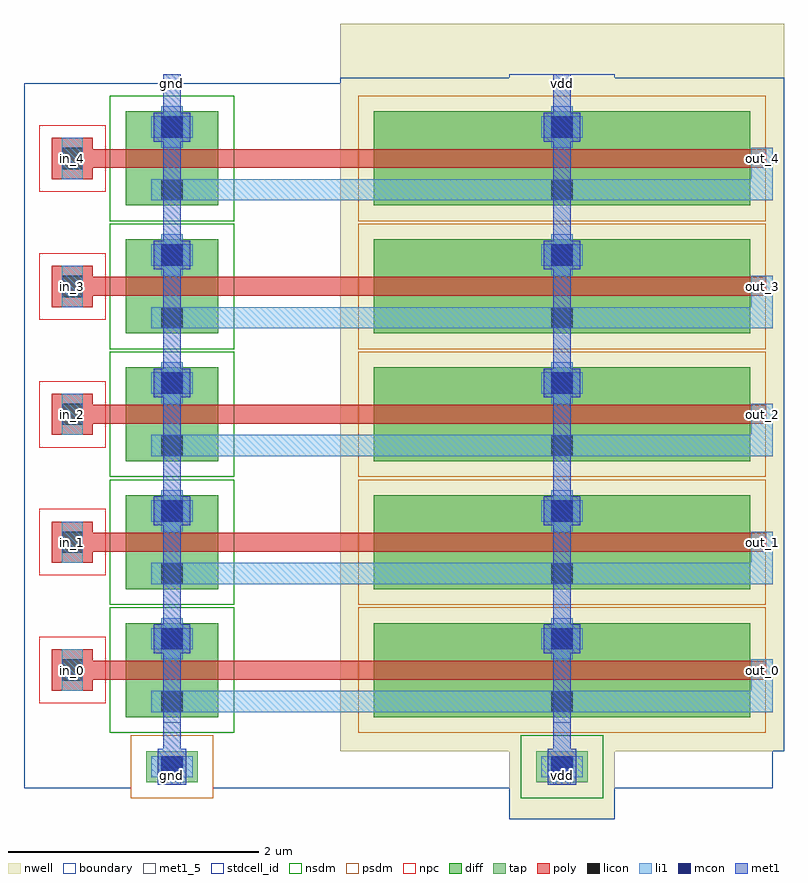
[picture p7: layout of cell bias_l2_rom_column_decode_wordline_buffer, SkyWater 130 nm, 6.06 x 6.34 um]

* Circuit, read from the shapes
.subckt bias_l2_rom_column_decode_wordline_buffer gnd in_0 in_1 in_2 in_3 in_4 out_0 out_1 out_2 out_3 out_4 vdd
XM1 gnd in_0 out_0 gnd sky130_fd_pr__nfet_01v8 w=0.74 l=0.15
XM2 gnd in_1 out_1 gnd sky130_fd_pr__nfet_01v8 w=0.74 l=0.15
XM3 gnd in_2 out_2 gnd sky130_fd_pr__nfet_01v8 w=0.74 l=0.15
XM4 gnd in_3 out_3 gnd sky130_fd_pr__nfet_01v8 w=0.74 l=0.15
XM5 gnd in_4 out_4 gnd sky130_fd_pr__nfet_01v8 w=0.74 l=0.15
XM6 vdd in_0 out_0 vdd sky130_fd_pr__pfet_01v8 w=3 l=0.15
XM7 vdd in_1 out_1 vdd sky130_fd_pr__pfet_01v8 w=3 l=0.15
XM8 vdd in_2 out_2 vdd sky130_fd_pr__pfet_01v8 w=3 l=0.15
XM9 vdd in_3 out_3 vdd sky130_fd_pr__pfet_01v8 w=3 l=0.15
XM10 vdd in_4 out_4 vdd sky130_fd_pr__pfet_01v8 w=3 l=0.15
.ends

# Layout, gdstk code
from math import pi, radians
import gdstk
lib = gdstk.Library(unit=1e-6, precision=1e-09)
def R(c, l, rs):  # rectangles x0, y0, x1, y1
    for r in rs: c.add(gdstk.rectangle(r[:2], r[2:], *l))
def A(c, l, x, y, w, h, nx, ny, dx, dy):  # array of equal rectangles
    R(c, l, [(x+i*dx, y+j*dy, x+i*dx+w, y+j*dy+h) for i in range(nx) for j in range(ny)])
nwell = (64, 20)
diff = (65, 20)
tap = (65, 44)
poly = (66, 20)
licon = (66, 44)
li1 = (67, 20)
mcon = (67, 44)
met1_5 = (68, 5)
met1 = (68, 20)
stdcell_id = (81, 4)
nsdm = (93, 44)
psdm = (94, 20)
npc = (95, 20)
boundary = (235, 4)

bias_l2_contact_10 = lib.new_cell('bias_l2_contact_10')
R(bias_l2_contact_10, nwell, [(-0.295,-0.255,0.545,0.585)])
R(bias_l2_contact_10, diff, [(0,0.02,0.25,0.31)])
R(bias_l2_contact_10, licon, [(0.04,0.08,0.21,0.25)])
R(bias_l2_contact_10, li1, [(0.04,0,0.21,0.33)])
R(bias_l2_contact_10, stdcell_id, [(-0.295,-0.255,0.545,0.585)])
R(bias_l2_contact_10, psdm, [(-0.125,-0.105,0.375,0.435)])
R(bias_l2_contact_10, boundary, [(-0.295,-0.255,0.545,0.585)])

bias_l2_pmos_m1_w3_000_s = lib.new_cell('bias_l2_pmos_m1_w3_000_sli_dli_da_p')
R(bias_l2_pmos_m1_w3_000_s, nwell, [(-0.27,-0.27,1.02,3.27)])
R(bias_l2_pmos_m1_w3_000_s, diff, [(0,0,0.75,3)])
R(bias_l2_pmos_m1_w3_000_s, poly, [(0.3,-0.13,0.45,3.13), (0.3,-0.13,0.45,3.13)])
R(bias_l2_pmos_m1_w3_000_s, li1, [(0.04,1.335,0.21,1.665), (0.54,1.335,0.71,1.665)])
R(bias_l2_pmos_m1_w3_000_s, stdcell_id, [(-0.27,-0.27,1.02,3.27)])
R(bias_l2_pmos_m1_w3_000_s, psdm, [(-0.125,-0.125,0.875,3.125)])
R(bias_l2_pmos_m1_w3_000_s, boundary, [(-0.27,-0.27,1.02,3.27)])
bias_l2_pmos_m1_w3_000_s.add(gdstk.Reference(bias_l2_contact_10, (0,1.335)))
bias_l2_pmos_m1_w3_000_s.add(gdstk.Reference(bias_l2_contact_10, (0.5,1.335)))
bias_l2_pmos_m1_w3_000_s.add(gdstk.Label('G', (0.375,1.5), layer=66, texttype=5))
bias_l2_pmos_m1_w3_000_s.add(gdstk.Label('S', (0.125,1.5), layer=67, texttype=5))
bias_l2_pmos_m1_w3_000_s.add(gdstk.Label('D', (0.625,1.5), layer=67, texttype=5))

bias_l2_contact_8 = lib.new_cell('bias_l2_contact_8')
R(bias_l2_contact_8, diff, [(0,0.02,0.25,0.31)])
R(bias_l2_contact_8, licon, [(0.04,0.08,0.21,0.25)])
R(bias_l2_contact_8, li1, [(0.04,0,0.21,0.33)])
R(bias_l2_contact_8, stdcell_id, [(-0.125,-0.105,0.375,0.435)])
R(bias_l2_contact_8, nsdm, [(-0.125,-0.105,0.375,0.435)])
R(bias_l2_contact_8, boundary, [(-0.125,-0.105,0.375,0.435)])

bias_l2_nmos_m1_w0_740_s = lib.new_cell('bias_l2_nmos_m1_w0_740_sli_dli_da_p')
R(bias_l2_nmos_m1_w0_740_s, diff, [(0,0,0.75,0.74)])
R(bias_l2_nmos_m1_w0_740_s, poly, [(0.3,-0.13,0.45,0.87), (0.3,-0.13,0.45,0.87)])
R(bias_l2_nmos_m1_w0_740_s, li1, [(0.04,0.205,0.21,0.535), (0.54,0.205,0.71,0.535)])
R(bias_l2_nmos_m1_w0_740_s, stdcell_id, [(-0.125,-0.13,0.875,0.87)])
R(bias_l2_nmos_m1_w0_740_s, nsdm, [(-0.125,-0.125,0.875,0.865)])
R(bias_l2_nmos_m1_w0_740_s, boundary, [(-0.125,-0.13,0.875,0.87)])
bias_l2_nmos_m1_w0_740_s.add(gdstk.Reference(bias_l2_contact_8, (0,0.205)))
bias_l2_nmos_m1_w0_740_s.add(gdstk.Reference(bias_l2_contact_8, (0.5,0.205)))
bias_l2_nmos_m1_w0_740_s.add(gdstk.Label('G', (0.375,0.37), layer=66, texttype=5))
bias_l2_nmos_m1_w0_740_s.add(gdstk.Label('S', (0.125,0.37), layer=67, texttype=5))
bias_l2_nmos_m1_w0_740_s.add(gdstk.Label('D', (0.625,0.37), layer=67, texttype=5))

bias_l2_contact_11 = lib.new_cell('bias_l2_contact_11')
R(bias_l2_contact_11, poly, [(0,0,0.33,0.33)])
R(bias_l2_contact_11, licon, [(0.08,0.08,0.25,0.25)])
R(bias_l2_contact_11, li1, [(0.08,0,0.25,0.33)])
R(bias_l2_contact_11, stdcell_id, [(-0.1,-0.1,0.43,0.43)])
R(bias_l2_contact_11, npc, [(-0.1,-0.1,0.43,0.43)])
R(bias_l2_contact_11, boundary, [(-0.1,-0.1,0.43,0.43)])

bias_l2_contact_12 = lib.new_cell('bias_l2_contact_12')
R(bias_l2_contact_12, li1, [(0.06,0,0.23,0.33)])
R(bias_l2_contact_12, mcon, [(0.06,0.08,0.23,0.25)])
R(bias_l2_contact_12, met1, [(0,0.05,0.29,0.28)])
R(bias_l2_contact_12, stdcell_id, [(0,0,0.29,0.33)])
R(bias_l2_contact_12, boundary, [(0,0,0.29,0.33)])

bias_l2_pinv_dec_2 = lib.new_cell('bias_l2_pinv_dec_2')
R(bias_l2_pinv_dec_2, nwell, [(2.52,0,6.06,1.495)])
R(bias_l2_pinv_dec_2, poly, [(0.385,0.345,0.68,0.495), (1.68,0.345,2.66,0.495)])
R(bias_l2_pinv_dec_2, li1, [(1.015,0.085,5.97,0.255), (0.3,0.255,0.47,0.585)])
R(bias_l2_pinv_dec_2, met1_5, [(1.11,0,1.25,1.02), (4.22,0,4.36,1.02)])
R(bias_l2_pinv_dec_2, met1, [(1.11,0,1.25,1.02), (4.22,0,4.36,1.02)])
R(bias_l2_pinv_dec_2, stdcell_id, [(0,0,5.97,1.02), (0,0,5.97,1.02)])
R(bias_l2_pinv_dec_2, nsdm, [(0.685,0,1.675,0.795)])
R(bias_l2_pinv_dec_2, psdm, [(2.665,0,5.915,0.795)])
R(bias_l2_pinv_dec_2, boundary, [(0,0,5.97,1.02), (0,0,5.97,1.02)])
bias_l2_pinv_dec_2.add(gdstk.Reference(bias_l2_pmos_m1_w3_000_s, (2.79,0.795), rotation=3*pi/2))
bias_l2_pinv_dec_2.add(gdstk.Reference(bias_l2_nmos_m1_w0_740_s, (0.81,0.795), rotation=3*pi/2))
bias_l2_pinv_dec_2.add(gdstk.Reference(bias_l2_contact_11, (0.22,0.255)))
bias_l2_pinv_dec_2.add(gdstk.Reference(bias_l2_contact_12, (1.035,0.505)))
bias_l2_pinv_dec_2.add(gdstk.Reference(bias_l2_contact_12, (4.145,0.505)))
bias_l2_pinv_dec_2.add(gdstk.Label('A', (0.385,0.42), layer=67, texttype=5))
bias_l2_pinv_dec_2.add(gdstk.Label('Z', (3.492,0.17), layer=67, texttype=5))
bias_l2_pinv_dec_2.add(gdstk.Label('gnd', (1.18,0.51), layer=68, texttype=5))
bias_l2_pinv_dec_2.add(gdstk.Label('vdd', (4.29,0.51), layer=68, texttype=5))

bias_l2_contact_15 = lib.new_cell('bias_l2_contact_15')
R(bias_l2_contact_15, nwell, [(-0.215,-0.295,0.625,0.545)])
R(bias_l2_contact_15, tap, [(0,0,0.41,0.25)])
R(bias_l2_contact_15, licon, [(0.12,0.04,0.29,0.21)])
R(bias_l2_contact_15, li1, [(0.04,0.04,0.37,0.21)])
R(bias_l2_contact_15, stdcell_id, [(-0.215,-0.295,0.625,0.545)])
R(bias_l2_contact_15, nsdm, [(-0.125,-0.125,0.535,0.375)])
R(bias_l2_contact_15, boundary, [(-0.215,-0.295,0.625,0.545)])

bias_l2_contact_17 = lib.new_cell('bias_l2_contact_17')
R(bias_l2_contact_17, li1, [(0,0.06,0.33,0.23)])
R(bias_l2_contact_17, mcon, [(0.08,0.06,0.25,0.23)])
R(bias_l2_contact_17, met1, [(0.05,0,0.28,0.29)])
R(bias_l2_contact_17, stdcell_id, [(0,0,0.33,0.29)])
R(bias_l2_contact_17, boundary, [(0,0,0.33,0.29)])

bias_l2_contact_16 = lib.new_cell('bias_l2_contact_16')
R(bias_l2_contact_16, tap, [(0,0,0.41,0.25)])
R(bias_l2_contact_16, licon, [(0.12,0.04,0.29,0.21)])
R(bias_l2_contact_16, li1, [(0.04,0.04,0.37,0.21)])
R(bias_l2_contact_16, stdcell_id, [(-0.125,-0.125,0.535,0.375)])
R(bias_l2_contact_16, psdm, [(-0.125,-0.125,0.535,0.375)])
R(bias_l2_contact_16, boundary, [(-0.125,-0.125,0.535,0.375)])

bias_l2_rom_column_decod = lib.new_cell('bias_l2_rom_column_decode_wordline_buffer')
A(bias_l2_rom_column_decod, li1, 5.8, 0.69, 0.17, 0.335, 1, 5, 0, 1.02)
A(bias_l2_rom_column_decod, li1, 0.3, 0.775, 0.17, 0.33, 1, 5, 0, 1.02)
A(bias_l2_rom_column_decod, li1, 5.8, 0.855, 0.17, 0.17, 1, 5, 0, 1.02)
R(bias_l2_rom_column_decod, met1_5, [(1.11,0.03,1.25,0.17), (4.22,0.03,4.36,0.17), (1.11,5.55,1.25,5.69), (4.22,5.55,4.36,5.69)])
A(bias_l2_rom_column_decod, met1, 1.11, 0.96, 0.14, 0.14, 1, 5, 0, 1.02)
A(bias_l2_rom_column_decod, met1, 4.22, 0.96, 0.14, 0.14, 1, 5, 0, 1.02)
R(bias_l2_rom_column_decod, met1, [(1.11,0.03,1.25,0.17), (1.11,0.03,1.25,5.69), (4.22,0.03,4.36,0.17), (4.22,0.03,4.36,5.69), (1.11,0.1,1.25,0.24), (4.22,0.1,4.36,0.24), (1.11,5.55,1.25,5.69), (4.22,5.55,4.36,5.69)])
R(bias_l2_rom_column_decod, stdcell_id, [(0,0,5.97,5.1)])
R(bias_l2_rom_column_decod, boundary, [(0,0,5.97,5.1)])
bias_l2_rom_column_decod.add(gdstk.Reference(bias_l2_pinv_dec_2, (0,0.52)))
bias_l2_rom_column_decod.add(gdstk.Reference(bias_l2_pinv_dec_2, (0,1.54)))
bias_l2_rom_column_decod.add(gdstk.Reference(bias_l2_pinv_dec_2, (0,2.56)))
bias_l2_rom_column_decod.add(gdstk.Reference(bias_l2_pinv_dec_2, (0,3.58)))
bias_l2_rom_column_decod.add(gdstk.Reference(bias_l2_pinv_dec_2, (0,4.6)))
bias_l2_rom_column_decod.add(gdstk.Reference(bias_l2_contact_15, (4.085,0.045)))
bias_l2_rom_column_decod.add(gdstk.Reference(bias_l2_contact_17, (4.125,0.025)))
bias_l2_rom_column_decod.add(gdstk.Reference(bias_l2_contact_16, (0.975,0.045)))
bias_l2_rom_column_decod.add(gdstk.Reference(bias_l2_contact_17, (1.015,0.025)))
bias_l2_rom_column_decod.add(gdstk.Label('in_0', (0.385,0.94), layer=67, texttype=5))
bias_l2_rom_column_decod.add(gdstk.Label('out_0', (5.885,0.94), layer=67, texttype=5))
bias_l2_rom_column_decod.add(gdstk.Label('in_1', (0.385,1.96), layer=67, texttype=5))
bias_l2_rom_column_decod.add(gdstk.Label('out_1', (5.885,1.96), layer=67, texttype=5))
bias_l2_rom_column_decod.add(gdstk.Label('in_2', (0.385,2.98), layer=67, texttype=5))
bias_l2_rom_column_decod.add(gdstk.Label('out_2', (5.885,2.98), layer=67, texttype=5))
bias_l2_rom_column_decod.add(gdstk.Label('in_3', (0.385,4), layer=67, texttype=5))
bias_l2_rom_column_decod.add(gdstk.Label('out_3', (5.885,4), layer=67, texttype=5))
bias_l2_rom_column_decod.add(gdstk.Label('in_4', (0.385,5.02), layer=67, texttype=5))
bias_l2_rom_column_decod.add(gdstk.Label('out_4', (5.885,5.02), layer=67, texttype=5))
bias_l2_rom_column_decod.add(gdstk.Label('gnd', (1.18,5.62), layer=68, texttype=5))
bias_l2_rom_column_decod.add(gdstk.Label('gnd', (1.18,0.1), layer=68, texttype=5))
bias_l2_rom_column_decod.add(gdstk.Label('vdd', (4.29,0.1), layer=68, texttype=5))
bias_l2_rom_column_decod.add(gdstk.Label('vdd', (4.29,5.62), layer=68, texttype=5))

lib.write_gds('bias_l2_rom_column_decode_wordline_buffer.gds')
